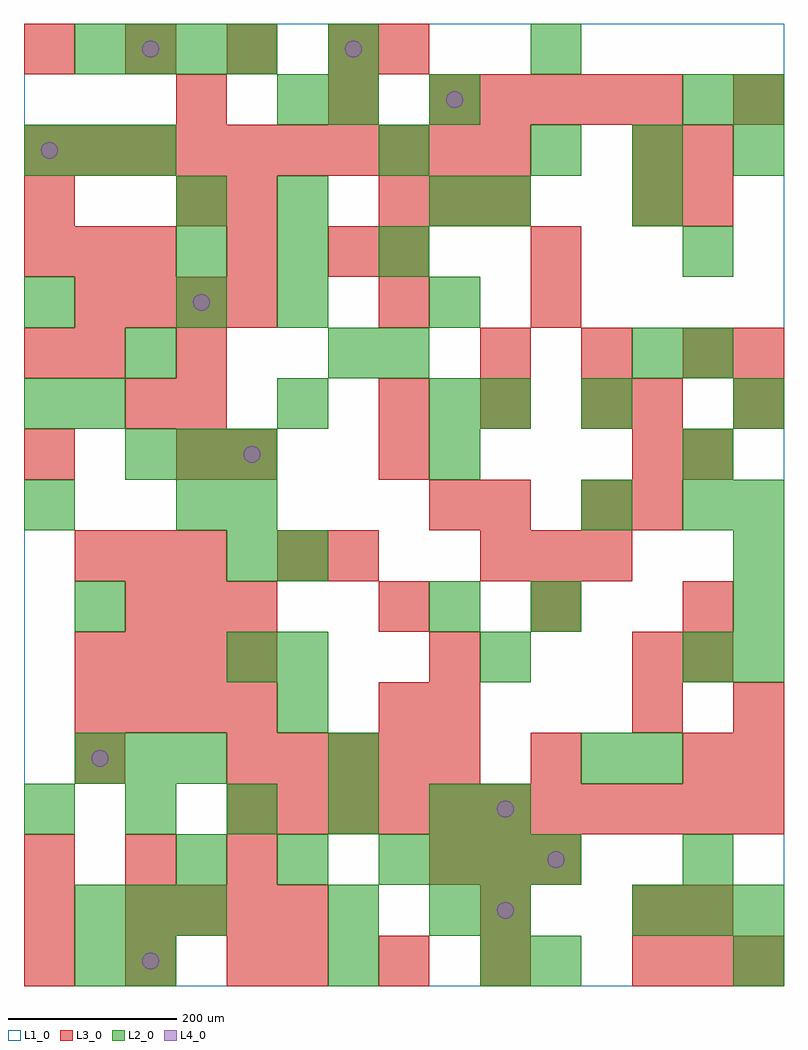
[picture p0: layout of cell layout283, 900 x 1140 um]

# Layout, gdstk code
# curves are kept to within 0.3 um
import gdstk
lib = gdstk.Library(unit=1e-6, precision=1e-09)
def R(c, l, rs):  # rectangles x0, y0, x1, y1
    for r in rs: c.add(gdstk.rectangle(r[:2], r[2:], *l))
def A(c, l, x, y, w, h, nx, ny, dx, dy):  # array of equal rectangles
    R(c, l, [(x+i*dx, y+j*dy, x+i*dx+w, y+j*dy+h) for i in range(nx) for j in range(ny)])
def P(c, l, *ps):  # polygons
    for p in ps: c.add(gdstk.Polygon(p, *l))
L1_0 = (1, 0)
L2_0 = (2, 0)
L3_0 = (3, 0)
L4_0 = (4, 0)

layout283 = lib.new_cell('layout283')
R(layout283, L1_0, [(0,0,900,1140)])
A(layout283, L2_0, 60, 60, 60, 60, 3, 2, 60, 180)
A(layout283, L2_0, 720, 60, 60, 60, 3, 1, 60, 0)
A(layout283, L2_0, 180, 120, 60, 60, 3, 2, 120, 720)
A(layout283, L2_0, 480, 120, 60, 60, 3, 1, 60, 0)
A(layout283, L2_0, 0, 180, 60, 60, 5, 1, 120, 0)
A(layout283, L2_0, 300, 300, 60, 60, 1, 3, 0, 180)
A(layout283, L2_0, 300, 360, 60, 60, 3, 1, 240, 0)
A(layout283, L2_0, 840, 360, 60, 60, 1, 4, 0, 60)
A(layout283, L2_0, 0, 540, 60, 60, 1, 3, 0, 120)
A(layout283, L2_0, 120, 600, 60, 60, 3, 1, 60, 0)
A(layout283, L2_0, 780, 600, 60, 60, 1, 3, 0, 120)
A(layout283, L2_0, 480, 660, 60, 60, 1, 4, 0, 120)
A(layout283, L2_0, 300, 780, 60, 60, 1, 3, 0, 120)
A(layout283, L2_0, 0, 960, 60, 60, 3, 1, 60, 0)
A(layout283, L2_0, 600, 960, 60, 60, 3, 1, 120, 0)
A(layout283, L2_0, 60, 1080, 60, 60, 4, 1, 60, 0)
R(layout283, L2_0, [(60,0,120,60), (120,0,180,60), (360,0,420,60), (540,0,600,60), (600,0,660,60), (840,0,900,60), (360,60,420,120), (480,60,540,120), (540,60,600,120), (780,120,840,180), (540,180,600,240), (360,240,420,300), (660,240,720,300), (720,240,780,300), (240,360,300,420), (60,420,120,480), (480,420,540,480), (600,420,660,480), (240,480,300,540), (180,540,240,600), (240,540,300,600), (660,540,720,600), (780,540,840,600), (480,600,540,660), (60,660,120,720), (540,660,600,720), (660,660,720,720), (840,660,900,720), (120,720,180,780), (360,720,420,780), (420,720,480,780), (720,720,780,780), (180,780,240,840), (180,900,240,960), (540,900,600,960), (720,900,780,960), (420,960,480,1020), (360,1020,420,1080), (780,1020,840,1080), (840,1020,900,1080), (360,1080,420,1140), (600,1080,660,1140)])
A(layout283, L3_0, 0, 0, 60, 60, 3, 2, 120, 120)
A(layout283, L3_0, 300, 0, 60, 60, 3, 1, 120, 0)
A(layout283, L3_0, 720, 0, 60, 60, 3, 1, 60, 0)
A(layout283, L3_0, 120, 60, 60, 60, 4, 1, 60, 0)
A(layout283, L3_0, 480, 120, 60, 60, 3, 1, 60, 0)
A(layout283, L3_0, 240, 180, 60, 60, 11, 1, 60, 0)
A(layout283, L3_0, 240, 240, 60, 60, 5, 1, 60, 0)
A(layout283, L3_0, 60, 300, 60, 60, 4, 2, 60, 60)
A(layout283, L3_0, 120, 420, 60, 60, 3, 1, 60, 0)
A(layout283, L3_0, 420, 420, 60, 60, 3, 1, 180, 0)
A(layout283, L3_0, 60, 480, 60, 60, 3, 1, 60, 0)
A(layout283, L3_0, 540, 480, 60, 60, 3, 1, 60, 0)
A(layout283, L3_0, 720, 540, 60, 60, 1, 3, 0, 60)
A(layout283, L3_0, 180, 600, 60, 60, 1, 3, 0, 60)
A(layout283, L3_0, 420, 660, 60, 60, 3, 1, 120, 0)
A(layout283, L3_0, 540, 720, 60, 60, 3, 1, 120, 0)
A(layout283, L3_0, 60, 780, 60, 60, 4, 1, 60, 0)
A(layout283, L3_0, 0, 840, 60, 60, 3, 1, 60, 0)
A(layout283, L3_0, 420, 900, 60, 60, 3, 1, 60, 0)
A(layout283, L3_0, 0, 960, 60, 60, 10, 1, 60, 0)
A(layout283, L3_0, 480, 1020, 60, 60, 5, 1, 60, 0)
A(layout283, L3_0, 0, 1080, 60, 60, 4, 1, 120, 0)
R(layout283, L3_0, [(0,60,60,120), (540,60,600,120), (720,60,780,120), (780,60,840,120), (60,240,120,300), (600,240,660,300), (780,240,840,300), (840,240,900,300), (420,300,480,360), (480,300,540,360), (720,300,780,360), (840,300,900,360), (480,360,540,420), (720,360,780,420), (780,360,840,420), (300,480,360,540), (360,480,420,540), (480,540,540,600), (540,540,600,600), (660,540,720,600), (0,600,60,660), (240,600,300,660), (420,600,480,660), (780,600,840,660), (120,660,180,720), (840,660,900,720), (0,720,60,780), (60,720,120,780), (840,720,900,780), (420,780,480,840), (600,780,660,840), (240,840,300,900), (360,840,420,900), (420,840,480,900), (600,840,660,900), (0,900,60,960), (180,900,240,960), (240,900,300,960), (720,900,780,960), (780,900,840,960), (720,960,780,1020), (780,960,840,1020), (180,1020,240,1080), (360,1020,420,1080), (840,1020,900,1080), (420,1080,480,1140)])
P(layout283, L4_0, [(40,990),(39.239,993.827),(37.071,997.071),(33.827,999.239),(30,1000),(26.173,999.239),(22.929,997.071),(20.761,993.827),(20,990),(20.761,986.173),(22.929,982.929),(26.173,980.761),(30,980),(33.827,980.761),(37.071,982.929),(39.239,986.173)],
  [(100,270),(99.239,273.827),(97.071,277.071),(93.827,279.239),(90,280),(86.173,279.239),(82.929,277.071),(80.761,273.827),(80,270),(80.761,266.173),(82.929,262.929),(86.173,260.761),(90,260),(93.827,260.761),(97.071,262.929),(99.239,266.173)],
  [(160,30),(159.239,33.827),(157.071,37.071),(153.827,39.239),(150,40),(146.173,39.239),(142.929,37.071),(140.761,33.827),(140,30),(140.761,26.173),(142.929,22.929),(146.173,20.761),(150,20),(153.827,20.761),(157.071,22.929),(159.239,26.173)],
  [(160,1110),(159.239,1113.827),(157.071,1117.071),(153.827,1119.239),(150,1120),(146.173,1119.239),(142.929,1117.071),(140.761,1113.827),(140,1110),(140.761,1106.173),(142.929,1102.929),(146.173,1100.761),(150,1100),(153.827,1100.761),(157.071,1102.929),(159.239,1106.173)],
  [(220,810),(219.239,813.827),(217.071,817.071),(213.827,819.239),(210,820),(206.173,819.239),(202.929,817.071),(200.761,813.827),(200,810),(200.761,806.173),(202.929,802.929),(206.173,800.761),(210,800),(213.827,800.761),(217.071,802.929),(219.239,806.173)],
  [(280,630),(279.239,633.827),(277.071,637.071),(273.827,639.239),(270,640),(266.173,639.239),(262.929,637.071),(260.761,633.827),(260,630),(260.761,626.173),(262.929,622.929),(266.173,620.761),(270,620),(273.827,620.761),(277.071,622.929),(279.239,626.173)],
  [(400,1110),(399.239,1113.827),(397.071,1117.071),(393.827,1119.239),(390,1120),(386.173,1119.239),(382.929,1117.071),(380.761,1113.827),(380,1110),(380.761,1106.173),(382.929,1102.929),(386.173,1100.761),(390,1100),(393.827,1100.761),(397.071,1102.929),(399.239,1106.173)],
  [(520,1050),(519.239,1053.827),(517.071,1057.071),(513.827,1059.239),(510,1060),(506.173,1059.239),(502.929,1057.071),(500.761,1053.827),(500,1050),(500.761,1046.173),(502.929,1042.929),(506.173,1040.761),(510,1040),(513.827,1040.761),(517.071,1042.929),(519.239,1046.173)],
  [(580,90),(579.239,93.827),(577.071,97.071),(573.827,99.239),(570,100),(566.173,99.239),(562.929,97.071),(560.761,93.827),(560,90),(560.761,86.173),(562.929,82.929),(566.173,80.761),(570,80),(573.827,80.761),(577.071,82.929),(579.239,86.173)],
  [(580,210),(579.239,213.827),(577.071,217.071),(573.827,219.239),(570,220),(566.173,219.239),(562.929,217.071),(560.761,213.827),(560,210),(560.761,206.173),(562.929,202.929),(566.173,200.761),(570,200),(573.827,200.761),(577.071,202.929),(579.239,206.173)],
  [(640,150),(639.239,153.827),(637.071,157.071),(633.827,159.239),(630,160),(626.173,159.239),(622.929,157.071),(620.761,153.827),(620,150),(620.761,146.173),(622.929,142.929),(626.173,140.761),(630,140),(633.827,140.761),(637.071,142.929),(639.239,146.173)])

lib.write_gds('layout283.gds')
